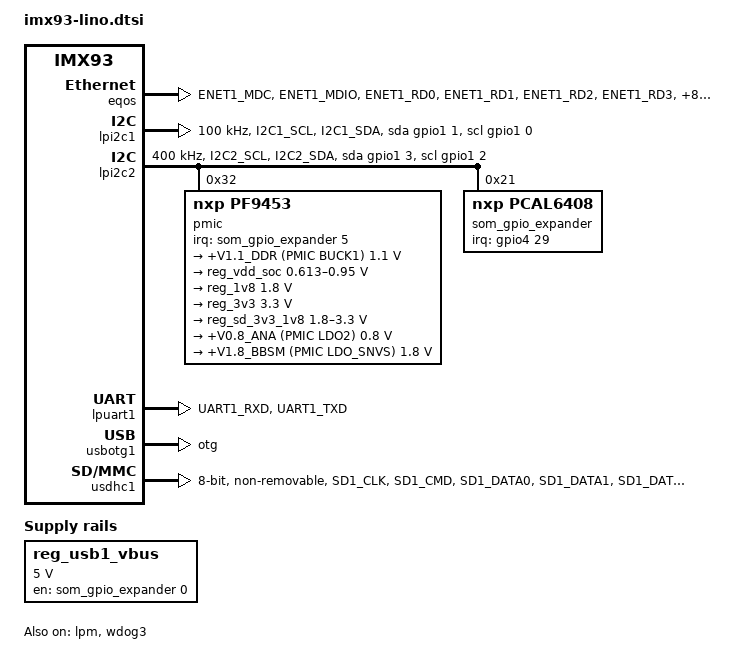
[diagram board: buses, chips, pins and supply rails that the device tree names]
// SPDX-License-Identifier: GPL-2.0-or-later OR MIT
/*
 * Copyright (C) 2025 Toradex
 *
 * Lino iMX93 SoM
 *
 * https://www.toradex.com/computer-on-modules/lino-arm-family/nxp-imx93
 */

#include <dt-bindings/gpio/gpio.h>
#include <dt-bindings/interrupt-controller/irq.h>

/ {
	aliases {
		i2c0 = &lpi2c2;
		i2c1 = &lpi2c1;
		ethernet0 = &eqos;
		mmc0 = &usdhc1;
		serial2 = &lpuart1;
	};

	chosen {
		stdout-path = &lpuart1;
	};

	reserved-memory {
		#address-cells = <2>;
		#size-cells = <2>;
		ranges;

		// TODO: move to 0x87de0000 (below 256MB)
		ele_reserved: memory@a4120000 {
			compatible = "shared-dma-pool";
			reg = <0 0xa4120000 0 0x100000>;
			no-map;
		};
	};

	reg_usb1_vbus: regulator-usb1-vbus {
		compatible = "regulator-fixed";
		/* Lino USB_1_EN (P27) */
		gpios = <&som_gpio_expander 0 GPIO_ACTIVE_HIGH>;
		enable-active-high;
		regulator-max-microvolt = <5000000>;
		regulator-min-microvolt = <5000000>;
		regulator-name = "USB_1_EN";
		startup-delay-us = <20000>;
	};

};

&ele_fw2 {
	memory-region = <&ele_reserved>;
};

/* Lino ETH_1 */
&eqos {
	pinctrl-names = "default";
	pinctrl-0 = <&pinctrl_mdio>, <&pinctrl_eth1>;

	mdio: mdio {
		compatible = "snps,dwmac-mdio";
		#address-cells = <1>;
		#size-cells = <0>;
		status = "disabled";
	};
};

/* Lino I2C_1 */
&lpi2c1 {
	pinctrl-names = "default", "gpio";
	pinctrl-0 = <&pinctrl_i2c1>;
	pinctrl-1 = <&pinctrl_i2c1_gpio>;
	#address-cells = <1>;
	#size-cells = <0>;
	clock-frequency = <100000>;
	scl-gpios = <&gpio1 0 (GPIO_ACTIVE_HIGH | GPIO_OPEN_DRAIN)>;
	sda-gpios = <&gpio1 1 (GPIO_ACTIVE_HIGH | GPIO_OPEN_DRAIN)>;
	single-master;
};

/* On-module I2C - PMIC_I2C */
&lpi2c2 {
	pinctrl-names = "default", "gpio";
	pinctrl-0 = <&pinctrl_pmic_i2c>;
	pinctrl-1 = <&pinctrl_pmic_i2c_gpio>;
	#address-cells = <1>;
	#size-cells = <0>;
	clock-frequency = <400000>;
	scl-gpios = <&gpio1 2 (GPIO_ACTIVE_HIGH | GPIO_OPEN_DRAIN)>;
	sda-gpios = <&gpio1 3 (GPIO_ACTIVE_HIGH | GPIO_OPEN_DRAIN)>;
	single-master;
	status = "okay";

	pmic@32 {
		compatible = "nxp,pf9453";
		reg = <0x32>;
		interrupt-parent = <&som_gpio_expander>;
		interrupts = <5 IRQ_TYPE_EDGE_FALLING>;

		regulators {
			BUCK1 {
				regulator-always-on;
				regulator-boot-on;
				regulator-name = "+V1.1_DDR (PMIC BUCK1)";
				regulator-max-microvolt = <1100000>;
				regulator-min-microvolt = <1100000>;
			};

			reg_vdd_soc: BUCK2 {
				regulator-always-on;
				regulator-boot-on;
				regulator-name = "+VDD_SOC (PMIC BUCK2)";
				regulator-max-microvolt = <950000>;
				regulator-min-microvolt = <612500>;
				regulator-ramp-delay = <12500>;
			};

			reg_1v8: BUCK3 {
				regulator-always-on;
				regulator-boot-on;
				regulator-name = "+V1.8 / +V1.8_ANA (PMIC BUCK3)";
				regulator-max-microvolt = <1800000>;
				regulator-min-microvolt = <1800000>;
			};

			reg_3v3: BUCK4 {
				regulator-always-on;
				regulator-boot-on;
				regulator-name = "+V3.3 (PMIC BUCK4)";
				regulator-max-microvolt = <3300000>;
				regulator-min-microvolt = <3300000>;
			};

			reg_sd_3v3_1v8: LDO1 {
				regulator-always-on;
				regulator-boot-on;
				regulator-name = "+V3.3_1.8_SD (PMIC LDO1)";
				regulator-max-microvolt = <3300000>;
				regulator-min-microvolt = <1800000>;
			};

			LDO2 {
				regulator-always-on;
				regulator-boot-on;
				regulator-name = "+V0.8_ANA (PMIC LDO2)";
				regulator-max-microvolt = <800000>;
				regulator-min-microvolt = <800000>;
			};

			LDO_SNVS {
				regulator-always-on;
				regulator-boot-on;
				regulator-name = "+V1.8_BBSM (PMIC LDO_SNVS)";
				regulator-max-microvolt = <1800000>;
				regulator-min-microvolt = <1800000>;
			};
		};
	};

	som_gpio_expander: gpio@21 {
		compatible = "nxp,pcal6408";
		reg = <0x21>;
		pinctrl-names = "default";
		pinctrl-0 = <&pinctrl_gpio_exp_int>;
		#interrupt-cells = <2>;
		interrupt-controller;
		interrupt-parent = <&gpio4>;
		interrupts = <29 IRQ_TYPE_LEVEL_LOW>;
		#gpio-cells = <2>;
		gpio-controller;
		gpio-line-names =
			"Lino_P27", /* Lino USB_1_EN */
			"Lino_P61", /* Lino USB_2_EN */
			"TPM_SPI_CS#",
			"Lino_P29", /* Lino USB_1_OC# */
			"Lino_P63", /* Lino USB_2_OC# */
			"PMIC_INT#",
			"TPM_IRQ#",
			"Lino_S66";
	};
};

&lpm {
	soc-supply = <&reg_vdd_soc>;
	status = "okay";
};

/* Lino UART_3, used as the Linux Console */
&lpuart1 {
	pinctrl-names = "default";
	pinctrl-0 = <&pinctrl_uart3>;
};


/* Lino USB_1 */
&usbotg1 {
	dr_mode = "otg";
	adp-disable;
	hnp-disable;
	srp-disable;
	usb-role-switch;
	disable-over-current;
	role-switch-default-mode = "peripheral";
	samsung,picophy-dc-vol-level-adjust = <7>;
	samsung,picophy-pre-emp-curr-control = <3>;
};

/* On-module eMMC */
&usdhc1 {
	pinctrl-names = "default", "state_100mhz", "state_200mhz";
	pinctrl-0 = <&pinctrl_usdhc1>;
	pinctrl-1 = <&pinctrl_usdhc1>;
	pinctrl-2 = <&pinctrl_usdhc1>;
	bus-width = <8>;
	non-removable;
	no-sdio;
	no-sd;
	status = "okay";
};

&wdog3 {
	pinctrl-names = "default";
	pinctrl-0 = <&pinctrl_wdog>;
	fsl,ext-reset-output;
	status = "okay";
};

&iomuxc {
	/* Lino ETH MDIO */
	pinctrl_mdio: eqosmdiogrp {
		fsl,pins = <MX93_PAD_ENET1_MDC__ENET_QOS_MDC	0x1fe>, /* Lino P69 */
			   <MX93_PAD_ENET1_MDIO__ENET_QOS_MDIO	0x1fe>; /* Lino P67 */
	};

	/* Lino ETH_1 RGMII */
	pinctrl_eth1: eqosgrp {
		fsl,pins = <MX93_PAD_ENET1_RD0__ENET_QOS_RGMII_RD0			0x1fe>, /* Lino P77 */
			   <MX93_PAD_ENET1_RD1__ENET_QOS_RGMII_RD1			0x1fe>, /* Lino P79 */
			   <MX93_PAD_ENET1_RD2__ENET_QOS_RGMII_RD2			0x1fe>, /* Lino P81 */
			   <MX93_PAD_ENET1_RD3__ENET_QOS_RGMII_RD3			0x1fe>, /* Lino P83 */
			   <MX93_PAD_ENET1_RXC__CCM_ENET_QOS_CLOCK_GENERATE_RX_CLK	0x1fe>, /* Lino P73 */
			   <MX93_PAD_ENET1_RX_CTL__ENET_QOS_RGMII_RX_CTL		0x1fe>, /* Lino P75 */
			   <MX93_PAD_ENET1_TD0__ENET_QOS_RGMII_TD0			0x1fe>, /* Lino P97 */
			   <MX93_PAD_ENET1_TD1__ENET_QOS_RGMII_TD1			0x1fe>, /* Lino P95 */
			   <MX93_PAD_ENET1_TD2__ENET_QOS_RGMII_TD2			0x1fe>, /* Lino P93 */
			   <MX93_PAD_ENET1_TD3__ENET_QOS_RGMII_TD3			0x1fe>, /* Lino P91 */
			   <MX93_PAD_ENET1_TXC__CCM_ENET_QOS_CLOCK_GENERATE_TX_CLK	0x1fe>, /* Lino P89 */
			   <MX93_PAD_ENET1_TX_CTL__ENET_QOS_RGMII_TX_CTL		0x1fe>; /* Lino P85 */
	};

	/* Lino ETH_1 Interrupt */
	pinctrl_eth1_int: gpio1io10grp {
		fsl,pins = <MX93_PAD_PDM_BIT_STREAM1__GPIO1_IO10	0x139e>; /* Lino P65 */

	};

	/* On-module GPIO_EXP_INT# */
	pinctrl_gpio_exp_int: gpio4io29grp {
		fsl,pins = <MX93_PAD_CCM_CLKO4__GPIO4_IO29	0x139e>; /* GPIO_EXP_INT# */

	};

	/* Lino I2C_1 */
	pinctrl_i2c1: lpi2c1grp {
		fsl,pins = <MX93_PAD_I2C1_SCL__LPI2C1_SCL	0x40000b9e>, /* Lino P18 */
			   <MX93_PAD_I2C1_SDA__LPI2C1_SDA	0x40000b9e>; /* Lino P16 */
	};

	/* Lino I2C_1 as GPIO */
	pinctrl_i2c1_gpio: lpi2c1gpiogrp {
		fsl,pins = <MX93_PAD_I2C1_SCL__GPIO1_IO00	0x40000b9e>, /* Lino P18 */
			   <MX93_PAD_I2C1_SDA__GPIO1_IO01	0x40000b9e>; /* Lino P16 */
	};

	/* On-module PMIC I2C */
	pinctrl_pmic_i2c: lpi2c2grp {
		fsl,pins = <MX93_PAD_I2C2_SCL__LPI2C2_SCL	0x40000b9e>, /* PMIC_I2C_SCL */
			   <MX93_PAD_I2C2_SDA__LPI2C2_SDA	0x40000b9e>; /* PMIC_I2C_SDA */
	};

	/* On-module PMIC I2C as GPIO */
	pinctrl_pmic_i2c_gpio: lpi2c2gpiogrp {
		fsl,pins = <MX93_PAD_I2C2_SCL__GPIO1_IO02	0x40000b9e>, /* PMIC_I2C_SCL */
			   <MX93_PAD_I2C2_SDA__GPIO1_IO03	0x40000b9e>; /* PMIC_I2C_SDA */
	};

	/* Linux UART_3 */
	pinctrl_uart3: uart1grp {
		fsl,pins = <MX93_PAD_UART1_RXD__LPUART1_RX	0x39e>, /* Lino P17 */
			   <MX93_PAD_UART1_TXD__LPUART1_TX	0x39e>; /* Lino P19 */
	};

	/* On-module eMMC */
	pinctrl_usdhc1: usdhc1grp {
		fsl,pins = <MX93_PAD_SD1_CLK__USDHC1_CLK	0x5fe>,      /* eMMC_CLK    */
			   <MX93_PAD_SD1_CMD__USDHC1_CMD	0x400013fe>, /* eMMC_CMD    */
			   <MX93_PAD_SD1_DATA0__USDHC1_DATA0	0x400013fe>, /* eMMC_DATA0  */
			   <MX93_PAD_SD1_DATA1__USDHC1_DATA1	0x400013fe>, /* eMMC_DATA1  */
			   <MX93_PAD_SD1_DATA2__USDHC1_DATA2	0x400013fe>, /* eMMC_DATA2  */
			   <MX93_PAD_SD1_DATA3__USDHC1_DATA3	0x400013fe>, /* eMMC_DATA3  */
			   <MX93_PAD_SD1_DATA4__USDHC1_DATA4	0x400013fe>, /* eMMC_DATA4  */
			   <MX93_PAD_SD1_DATA5__USDHC1_DATA5	0x400013fe>, /* eMMC_DATA5  */
			   <MX93_PAD_SD1_DATA6__USDHC1_DATA6	0x400013fe>, /* eMMC_DATA6  */
			   <MX93_PAD_SD1_DATA7__USDHC1_DATA7	0x400013fe>, /* eMMC_DATA7  */
			   <MX93_PAD_SD1_STROBE__USDHC1_STROBE	0x1580>;     /* eMMC_STROBE */
	};

	pinctrl_wdog: wdoggrp {
		fsl,pins = <MX93_PAD_WDOG_ANY__WDOG1_WDOG_ANY 0x31e>; /* PMIC_WDOG_B */
	};
};
